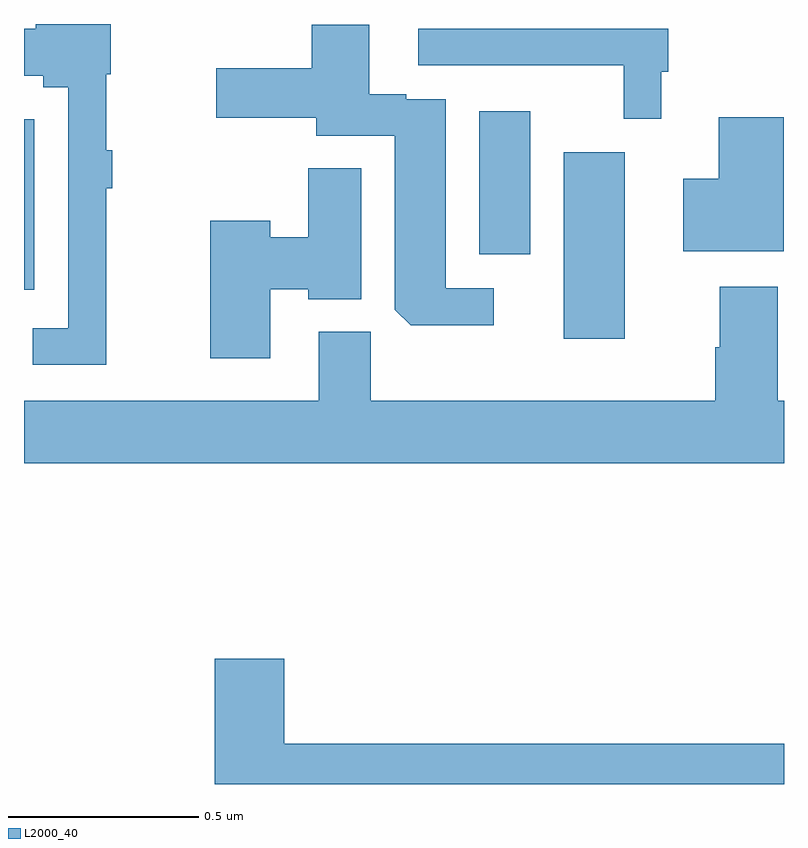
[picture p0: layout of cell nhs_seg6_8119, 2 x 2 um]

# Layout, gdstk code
import gdstk
lib = gdstk.Library(unit=1e-6, precision=1e-09)
def R(c, l, rs):  # rectangles x0, y0, x1, y1
    for r in rs: c.add(gdstk.rectangle(r[:2], r[2:], *l))
def P(c, l, *ps):  # polygons
    for p in ps: c.add(gdstk.Polygon(p, *l))
L2000_40 = (2000, 40)

nhs_seg6_8119 = lib.new_cell('nhs_seg6_8119')
R(nhs_seg6_8119, L2000_40, [(218.42,939.672,218.581,940.162), (217,939.801,217.027,940.249), (218.198,939.894,218.332,940.27)])
P(nhs_seg6_8119, L2000_40, [(217.217,940.068),(217.232,940.068),(217.232,940.168),(217.217,940.168),(217.217,940.368),(217.228,940.368),(217.228,940.5),(217.031,940.5),(217.031,940.488),(217,940.488),(217,940.364),(217.05,940.364),(217.05,940.334),(217.116,940.334),(217.116,939.699),(217.023,939.699),(217.023,939.603),(217.217,939.603)],
  [(218.236,939.804),(218.11,939.804),(218.11,940.302),(218.006,940.302),(218.006,940.315),(217.909,940.315),(217.909,940.498),(217.757,940.498),(217.757,940.383),(217.506,940.383),(217.506,940.253),(217.769,940.253),(217.769,940.206),(217.976,940.206),(217.976,939.748),(218.018,939.707),(218.236,939.707)],
  [(218.677,940.374),(218.696,940.374),(218.696,940.488),(218.037,940.488),(218.037,940.392),(218.578,940.392),(218.578,940.251),(218.677,940.251)],
  [(218.999,940.255),(218.828,940.255),(218.828,940.093),(218.735,940.093),(218.735,939.902),(218.999,939.902)],
  [(217.648,939.802),(217.748,939.802),(217.748,939.776),(217.888,939.776),(217.888,940.121),(217.748,940.121),(217.748,939.939),(217.648,939.939),(217.648,939.982),(217.49,939.982),(217.49,939.621),(217.648,939.621)],
  [(219,939.508),(218.984,939.508),(218.984,939.808),(218.831,939.808),(218.831,939.65),(218.819,939.65),(218.819,939.508),(217.913,939.508),(217.913,939.69),(217.775,939.69),(217.775,939.508),(217,939.508),(217,939.344),(219,939.344)],
  [(219,938.606),(217.685,938.606),(217.685,938.83),(217.502,938.83),(217.502,938.5),(219,938.5)])

lib.write_gds('nhs_seg6_8119.gds')
